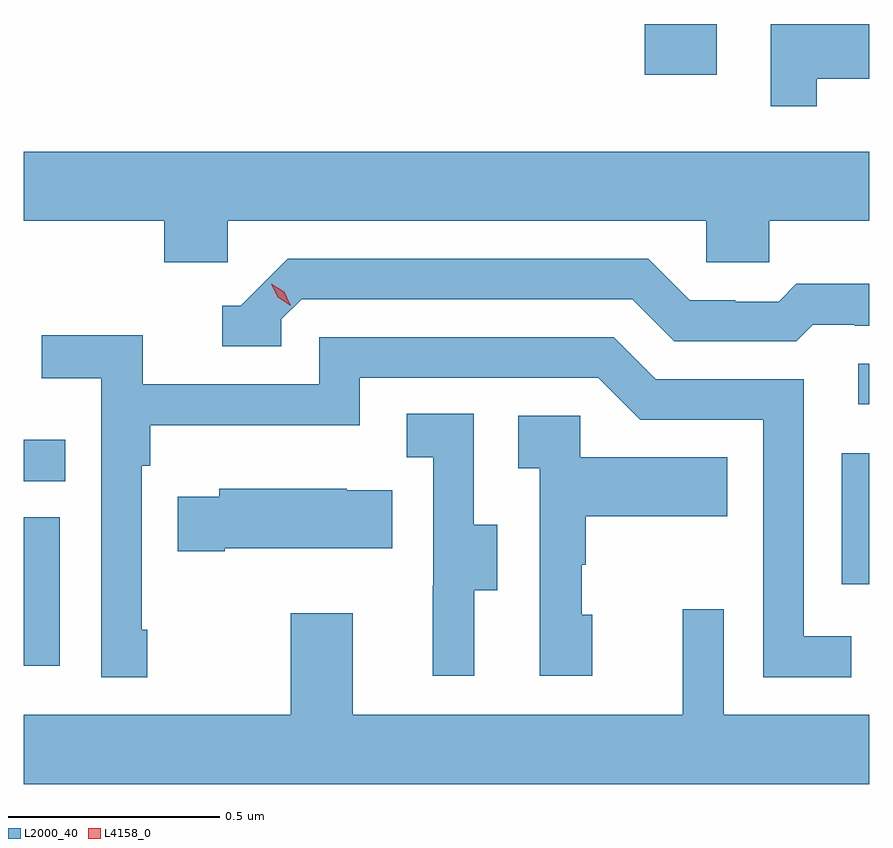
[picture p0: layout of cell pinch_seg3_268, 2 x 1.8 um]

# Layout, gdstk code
import gdstk
lib = gdstk.Library(unit=1e-6, precision=1e-09)
def R(c, l, rs):  # rectangles x0, y0, x1, y1
    for r in rs: c.add(gdstk.rectangle(r[:2], r[2:], *l))
def P(c, l, *ps):  # polygons
    for p in ps: c.add(gdstk.Polygon(p, *l))
L2000_40 = (2000, 40)
L4158_0 = (4158, 0)

pinch_seg3_268 = lib.new_cell('pinch_seg3_268')
R(pinch_seg3_268, L2000_40, [(909.339,723.84,909.424,724.191), (911.274,724.032,911.339,724.342), (909.339,724.276,909.437,724.375), (911.313,724.458,911.339,724.554), (910.808,725.238,910.978,725.358)])
P(pinch_seg3_268, L2000_40, [(911.215,725.228),(911.339,725.228),(911.339,725.358),(911.106,725.358),(911.106,725.163),(911.215,725.163)],
  [(909.822,724.892),(910.953,724.892),(910.953,724.794),(911.103,724.794),(911.103,724.892),(911.339,724.892),(911.339,725.056),(909.339,725.056),(909.339,724.892),(909.671,724.892),(909.671,724.794),(909.822,724.794)],
  [(909.948,724.659),(909.996,724.707),(910.779,724.707),(910.878,724.608),(911.167,724.608),(911.206,724.647),(911.305,724.647),(911.305,724.644),(911.339,724.644),(911.339,724.744),(911.167,724.744),(911.125,724.701),(911.022,724.701),(911.022,724.704),(910.915,724.704),(910.816,724.803),(909.963,724.803),(909.852,724.692),(909.809,724.692),(909.809,724.596),(909.948,724.596)],
  [(909.631,723.925),(909.618,723.925),(909.618,724.313),(909.638,724.313),(909.638,724.409),(910.134,724.409),(910.134,724.521),(910.698,724.521),(910.797,724.422),(911.088,724.422),(911.088,723.813),(911.297,723.813),(911.297,723.909),(911.184,723.909),(911.184,724.518),(910.834,724.518),(910.735,724.617),(910.038,724.617),(910.038,724.506),(909.62,724.506),(909.62,724.622),(909.381,724.622),(909.381,724.52),(909.522,724.52),(909.522,723.813),(909.631,723.813)],
  [(910.405,724.018),(910.459,724.018),(910.459,724.173),(910.404,724.173),(910.404,724.436),(910.245,724.436),(910.245,724.333),(910.308,724.333),(910.308,724.029),(910.307,724.029),(910.307,723.816),(910.405,723.816)],
  [(910.684,723.96),(910.659,723.96),(910.659,724.079),(910.669,724.079),(910.669,724.193),(911.003,724.193),(911.003,724.333),(910.656,724.333),(910.656,724.431),(910.509,724.431),(910.509,724.307),(910.56,724.307),(910.56,723.816),(910.684,723.816)],
  [(909.814,724.118),(910.211,724.118),(910.211,724.255),(910.103,724.255),(910.103,724.258),(909.801,724.258),(909.801,724.24),(909.703,724.24),(909.703,724.111),(909.814,724.111)],
  [(911.339,723.724),(910.995,723.724),(910.995,723.973),(910.898,723.973),(910.898,723.724),(910.117,723.724),(910.117,723.964),(909.97,723.964),(909.97,723.724),(909.339,723.724),(909.339,723.56),(911.339,723.56)])
P(pinch_seg3_268, L4158_0, [(909.971,724.692),(909.94,724.712),(909.924,724.744),(909.924,724.744),(909.924,724.744),(909.955,724.725),(909.971,724.692),(909.971,724.692)])

lib.write_gds('pinch_seg3_268.gds')
